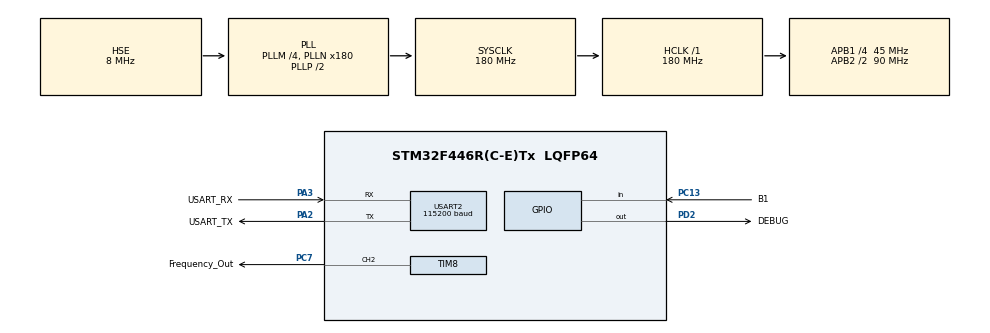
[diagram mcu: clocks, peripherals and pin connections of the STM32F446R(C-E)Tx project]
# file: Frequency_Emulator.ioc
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Mcu.Family=STM32F4
Mcu.Name=STM32F446R(C-E)Tx
Mcu.Package=LQFP64
NVIC.PriorityGroup=NVIC_PRIORITYGROUP_4
NVIC.TIM8_UP_TIM13_IRQn=true\:1\:0\:true\:false\:true\:true\:true\:true
NVIC.USART2_IRQn=true\:5\:0\:true\:false\:true\:true\:true\:true
PA13.GPIO_Label=TMS
PA13.Mode=Serial_Wire
PA13.Signal=SYS_JTMS-SWDIO
PA14.GPIO_Label=TCK
PA14.Mode=Serial_Wire
PA14.Signal=SYS_JTCK-SWCLK
PA2.GPIO_Label=USART_TX
PA2.Mode=Asynchronous
PA2.Signal=USART2_TX
PA3.GPIO_Label=USART_RX
PA3.Mode=Asynchronous
PA3.Signal=USART2_RX
PC13.GPIO_Label=B1
PC13.GPIO_PuPd=GPIO_PULLUP
PC13.Signal=GPIO_Input
PC14-OSC32_IN.Mode=LSE-External-Oscillator
PC14-OSC32_IN.Signal=RCC_OSC32_IN
PC15-OSC32_OUT.Mode=LSE-External-Oscillator
PC15-OSC32_OUT.Signal=RCC_OSC32_OUT
PC7.GPIO_Label=Frequency_Out
PC7.Signal=S_TIM8_CH2
PD2.GPIO_Label=DEBUG
PD2.Signal=GPIO_Output
PH0-OSC_IN.Mode=HSE-External-Oscillator
PH0-OSC_IN.Signal=RCC_OSC_IN
PH1-OSC_OUT.Mode=HSE-External-Oscillator
PH1-OSC_OUT.Signal=RCC_OSC_OUT
ProjectManager.HeapSize=0x200
ProjectManager.StackSize=0x800
ProjectManager.TargetToolchain=EWARM V8.32
RCC.48MHZClocksFreq_Value=84000000
RCC.AHBFreq_Value=180000000
RCC.APB1CLKDivider=RCC_HCLK_DIV4
RCC.APB1Freq_Value=45000000
RCC.APB1TimFreq_Value=90000000
RCC.APB2CLKDivider=RCC_HCLK_DIV2
RCC.APB2Freq_Value=90000000
RCC.APB2TimFreq_Value=180000000
RCC.CortexFreq_Value=180000000
RCC.FLatency-AdvancedSettings=FLASH_LATENCY_5
RCC.HCLKFreq_Value=180000000
RCC.HSE_VALUE=8000000
RCC.HSI_VALUE=16000000
RCC.PLLI2SM=8
RCC.PLLI2SN=400
RCC.PLLI2SR=5
RCC.PLLM=4
RCC.PLLN=180
RCC.PLLSourceVirtual=RCC_PLLSOURCE_HSE
RCC.RCC_MCO1Source=RCC_MCO1SOURCE_PLLCLK
RCC.RCC_MCO2Source=RCC_MCO2SOURCE_PLLI2SCLK
RCC.RCC_MCODiv2=RCC_MCODIV_5
RCC.SYSCLKFreq_VALUE=180000000
RCC.SYSCLKSource=RCC_SYSCLKSOURCE_PLLCLK
RCC.USBFreq_Value=180000000
RCC.VCOOutputFreq_Value=360000000
SH.S_TIM8_CH2.0=TIM8_CH2,PWM Generation2 CH2
TIM12.AutoReloadPreload=TIM_AUTORELOAD_PRELOAD_ENABLE
TIM12.ClockDivision=TIM_CLOCKDIVISION_DIV1
TIM12.Period=65535
TIM12.Prescaler=89
TIM8.AutoReloadPreload=TIM_AUTORELOAD_PRELOAD_ENABLE
TIM8.AutomaticOutput=TIM_AUTOMATICOUTPUT_ENABLE
TIM8.Channel-PWM\ Generation2\ CH2=TIM_CHANNEL_2
TIM8.Period=49999
TIM8.Prescaler=29
TIM8.Pulse-PWM\ Generation2\ CH2=40
USART2.BaudRate=115200
USART2.VirtualMode=VM_ASYNC
VP_TIM12_VS_ClockSourceINT.Mode=Internal
VP_TIM8_VS_ClockSourceINT.Mode=Internal
board=NUCLEO-F446RE

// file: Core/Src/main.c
/* USER CODE BEGIN Header */
/**
  ******************************************************************************
  * @file           : main.c
  * @brief          : Main program body
  ******************************************************************************
  * @attention
  *
  * <h2><center>&copy; Copyright (c) 2021 STMicroelectronics.
  * All rights reserved.</center></h2>
  *
  * This software component is licensed by ST under Ultimate Liberty license
  * SLA0044, the "License"; You may not use this file except in compliance with
  * the License. You may obtain a copy of the License at:
  *                             www.st.com/SLA0044
  *
  ******************************************************************************
  */
#define __XDIC_MAIN_C__
#include <stdint.h>
/* USER CODE END Header */
#include "main.h"

/* USER CODE BEGIN PD */

#define PRINT_BUFF_SIZE     (400U)
#define RX_PACKET_SIZE      (64U)
#define RX_BUFF_SIZE        (32U)

#define ANSI_FONT_NONE      "\033[0m"
#define ANSI_FONT_RED       "\033[31m"
#define ANSI_FONT_GREEN     "\033[32m"
#define ANSI_FONT_YELLOW    "\033[33m"
#define ANSI_FONT_BLUE      "\033[34m"
#define ANSI_FONT_MAGENTA   "\033[35m"

#define TIM8_BASE_FREQ      (180000000U) /* 180MHz */
#define TIM8_PRESCALE       (29U)
#define TIM8_FREQ           (TIM8_BASE_FREQ / (TIM8_PRESCALE + 1U)) /* 6MHz */
#define TIM8_PERIOD         (49999U)

typedef void (*func_t)(void);

typedef struct tag_KEY_INFO
{
    uint32_t now_state;
    uint32_t prev_state;
    uint8_t press_cnt;
    uint8_t odd_even;
    func_t function[2];
} key_info_t;
/* USER CODE END PD */

/* USER CODE BEGIN PV */

static key_info_t gt_key_info = {
    .now_state = 1,
    .prev_state = 1,
    .press_cnt = 0,
    .odd_even = 0,
    .function = { NULL, NULL },
};

typedef struct
{
    uint16_t length;
    char buffer[RX_PACKET_SIZE];
} rx_packet_t;

typedef struct
{
    uint16_t RxInCnt;
    uint16_t RxOutCnt;
    rx_packet_t Rxbuff[RX_BUFF_SIZE];
} RX_UART_t;

static uint8_t gn_key_task_tick;
static RX_UART_t gt_rx_uart;
static LOG_LV_T gt_log_lv = LOG_INFO;

/*
static void key_func_1(void)
{
}

static void key_func_2(void)
{
}
*/

static void btn_process(void)
{
    if (gn_key_task_tick == 0)
    {
        gt_key_info.now_state = LL_GPIO_IsInputPinSet(B1_GPIO_Port, B1_Pin);
        if (gt_key_info.now_state != gt_key_info.prev_state)
        {
            if (gt_key_info.now_state == 0)
            {
            }
            else
            {
                // Button Released
                if (gt_key_info.press_cnt >= 30)
                {
                    if (gt_key_info.function[gt_key_info.odd_even] != NULL)
                    {
                        gt_key_info.function[gt_key_info.odd_even]();
                    }
                    gt_key_info.odd_even ^= 1;
                }
                gt_key_info.press_cnt = 0;
            }
            gt_key_info.prev_state = gt_key_info.now_state;
        }
        else
        {
            if (gt_key_info.now_state == 0)
            {
                // Button Pressed
                ++gt_key_info.press_cnt;
            }
            else
            {
                // nothing
            }
        }
        gn_key_task_tick = 10; //10ms
    }
}

static void freq_start(void)
{
    uint16_t default_freq = 5000; //5kHz
    LL_TIM_SetCounter(TIM8, 0U);
    LL_TIM_SetAutoReload(TIM8, TIM8_FREQ / default_freq - 1U);
    LL_TIM_CC_EnableChannel(TIM8, LL_TIM_CHANNEL_CH2);
    LL_TIM_EnableCounter(TIM8);
}

static void freq_stop(void)
{
    LL_TIM_DisableCounter(TIM8);
    LL_TIM_SetCounter(TIM8, 0U);
}

static void freq_change(uint16_t in_freq)
{
    uint16_t arr = (TIM8_FREQ / in_freq - 1U);
    LL_TIM_SetAutoReload(TIM8, arr);
}
/* USER CODE END PV */

void SystemClock_Config(void);
static void MX_GPIO_Init(void);
static void MX_USART2_UART_Init(void);
static void MX_TIM12_Init(void);
static void MX_TIM8_Init(void);
/* USER CODE BEGIN PFP */
static void TaskDebugUart(void);
/* USER CODE END PFP */

/* USER CODE BEGIN 0 */
void sys_tick_handler(void)
{
}

void print(LOG_LV_T log_lv, const char *fmt, ...)
{
    if (log_lv >= gt_log_lv)
    {
        int len = 0;
        char msg_buffer[PRINT_BUFF_SIZE] = {0, };
        char color_buffer[PRINT_BUFF_SIZE] = {0, };

        va_list ap;
        va_start(ap, fmt);
        vsnprintf(msg_buffer, PRINT_BUFF_SIZE - 1, fmt, ap);
        va_end(ap);

        // 컬러 적용
        if (log_lv > LOG_INFO)
        {
            snprintf(color_buffer, (PRINT_BUFF_SIZE - 1), "%s%s%s", ANSI_FONT_RED, msg_buffer, ANSI_FONT_NONE);
            len = strlen(color_buffer);
        }
        else
        {
            len = strlen(msg_buffer);
            memcpy(color_buffer, msg_buffer, len + 1);
        }

        for (uint16_t i = 0 ; i < len ; ++i)
        {
            while (RESET == LL_USART_IsActiveFlag_TXE(USART2));
            LL_USART_TransmitData8(USART2, (uint8_t)color_buffer[i]);
        }
    }
}

static void comm_print_help(void)
{
    print(LOG_INFO, "\n\r------------------ Command Help -----------------------------");

    print(LOG_INFO, "\n\r  help / ?\t\t : Show command help");

    print(LOG_INFO, "\n\r  log_lv [d]\t\t : Set log level (0 ~ LOG_MAX-1)");
    print(LOG_INFO, "\n\r  reset\t\t\t : Reset MCU");

    print(LOG_INFO, "\n\r--------------------------------------------------------------\n\r");
}

static void comm_init(void)
{
    print(LOG_INFO, "\n\r--------------------------------------");
    print(LOG_INFO, "\n\r    [GT Frequency Emulator]");
    print(LOG_INFO, "\n\r--------------------------------------");
    print(LOG_INFO, "\n\r - Author: xxx@glbltech.com");
    print(LOG_INFO, "\n\r - Build : %s", __DATE__);
    print(LOG_INFO, "\n\r--------------------------------------\r\n");
}
/* USER CODE END 0 */

int main(void)
{

  /* MCU Configuration--------------------------------------------------------*/

  /* Reset of all peripherals, Initializes the Flash interface and the Systick. */
  HAL_Init();

  /* Configure the system clock */
  SystemClock_Config();

  /* Initialize all configured peripherals */
  MX_GPIO_Init();
  MX_USART2_UART_Init();
  MX_TIM12_Init();
  MX_TIM8_Init();
  /* USER CODE BEGIN 2 */

    comm_init();

  /* USER CODE END 2 */

  /* Infinite loop */
  while (1)
  {

    /* USER CODE BEGIN 3 */
    TaskDebugUart();
    btn_process();
  }
  /* USER CODE END 3 */
}

void SystemClock_Config(void)
{
  RCC_OscInitTypeDef RCC_OscInitStruct = {0};
  RCC_ClkInitTypeDef RCC_ClkInitStruct = {0};

  /** Configure the main internal regulator output voltage
  */
  __HAL_RCC_PWR_CLK_ENABLE();
  __HAL_PWR_VOLTAGESCALING_CONFIG(PWR_REGULATOR_VOLTAGE_SCALE1);

  /** Initializes the RCC Oscillators according to the specified parameters
  * in the RCC_OscInitTypeDef structure.
  */
  RCC_OscInitStruct.OscillatorType = RCC_OSCILLATORTYPE_HSE;
  RCC_OscInitStruct.HSEState = RCC_HSE_ON;
  RCC_OscInitStruct.PLL.PLLState = RCC_PLL_ON;
  RCC_OscInitStruct.PLL.PLLSource = RCC_PLLSOURCE_HSE;
  RCC_OscInitStruct.PLL.PLLM = 4;
  RCC_OscInitStruct.PLL.PLLN = 180;
  RCC_OscInitStruct.PLL.PLLP = RCC_PLLP_DIV2;
  RCC_OscInitStruct.PLL.PLLQ = 2;
  RCC_OscInitStruct.PLL.PLLR = 2;
  if (HAL_RCC_OscConfig(&RCC_OscInitStruct) != HAL_OK)
  {
    Error_Handler();
  }

  /** Activate the Over-Drive mode
  */
  if (HAL_PWREx_EnableOverDrive() != HAL_OK)
  {
    Error_Handler();
  }

  /** Initializes the CPU, AHB and APB buses clocks
  */
  RCC_ClkInitStruct.ClockType = RCC_CLOCKTYPE_HCLK|RCC_CLOCKTYPE_SYSCLK
                              |RCC_CLOCKTYPE_PCLK1|RCC_CLOCKTYPE_PCLK2;
  RCC_ClkInitStruct.SYSCLKSource = RCC_SYSCLKSOURCE_PLLCLK;
  RCC_ClkInitStruct.AHBCLKDivider = RCC_SYSCLK_DIV1;
  RCC_ClkInitStruct.APB1CLKDivider = RCC_HCLK_DIV4;
  RCC_ClkInitStruct.APB2CLKDivider = RCC_HCLK_DIV2;

  if (HAL_RCC_ClockConfig(&RCC_ClkInitStruct, FLASH_LATENCY_5) != HAL_OK)
  {
    Error_Handler();
  }
}

static void MX_TIM8_Init(void)
{

  LL_TIM_InitTypeDef TIM_InitStruct = {0};
  LL_TIM_OC_InitTypeDef TIM_OC_InitStruct = {0};
  LL_TIM_BDTR_InitTypeDef TIM_BDTRInitStruct = {0};

  LL_GPIO_InitTypeDef GPIO_InitStruct = {0};

  /* Peripheral clock enable */
  LL_APB2_GRP1_EnableClock(LL_APB2_GRP1_PERIPH_TIM8);

  /* TIM8 interrupt Init */
  NVIC_SetPriority(TIM8_UP_TIM13_IRQn, NVIC_EncodePriority(NVIC_GetPriorityGrouping(),1, 0));
  NVIC_EnableIRQ(TIM8_UP_TIM13_IRQn);

  TIM_InitStruct.Prescaler = 29;
  TIM_InitStruct.CounterMode = LL_TIM_COUNTERMODE_UP;
  TIM_InitStruct.Autoreload = 49999;
  TIM_InitStruct.ClockDivision = LL_TIM_CLOCKDIVISION_DIV1;
  TIM_InitStruct.RepetitionCounter = 0;
  LL_TIM_Init(TIM8, &TIM_InitStruct);
  LL_TIM_EnableARRPreload(TIM8);
  LL_TIM_SetClockSource(TIM8, LL_TIM_CLOCKSOURCE_INTERNAL);
  LL_TIM_OC_EnablePreload(TIM8, LL_TIM_CHANNEL_CH2);
  TIM_OC_InitStruct.OCMode = LL_TIM_OCMODE_PWM1;
  TIM_OC_InitStruct.OCState = LL_TIM_OCSTATE_DISABLE;
  TIM_OC_InitStruct.OCNState = LL_TIM_OCSTATE_DISABLE;
  TIM_OC_InitStruct.CompareValue = 40;
  TIM_OC_InitStruct.OCPolarity = LL_TIM_OCPOLARITY_HIGH;
  TIM_OC_InitStruct.OCNPolarity = LL_TIM_OCPOLARITY_HIGH;
  TIM_OC_InitStruct.OCIdleState = LL_TIM_OCIDLESTATE_LOW;
  TIM_OC_InitStruct.OCNIdleState = LL_TIM_OCIDLESTATE_LOW;
  LL_TIM_OC_Init(TIM8, LL_TIM_CHANNEL_CH2, &TIM_OC_InitStruct);
  LL_TIM_OC_DisableFast(TIM8, LL_TIM_CHANNEL_CH2);
  LL_TIM_SetTriggerOutput(TIM8, LL_TIM_TRGO_RESET);
  LL_TIM_DisableMasterSlaveMode(TIM8);
  TIM_BDTRInitStruct.OSSRState = LL_TIM_OSSR_DISABLE;
  TIM_BDTRInitStruct.OSSIState = LL_TIM_OSSI_DISABLE;
  TIM_BDTRInitStruct.LockLevel = LL_TIM_LOCKLEVEL_OFF;
  TIM_BDTRInitStruct.DeadTime = 0;
  TIM_BDTRInitStruct.BreakState = LL_TIM_BREAK_DISABLE;
  TIM_BDTRInitStruct.BreakPolarity = LL_TIM_BREAK_POLARITY_HIGH;
  TIM_BDTRInitStruct.AutomaticOutput = LL_TIM_AUTOMATICOUTPUT_ENABLE;
  LL_TIM_BDTR_Init(TIM8, &TIM_BDTRInitStruct);
  LL_AHB1_GRP1_EnableClock(LL_AHB1_GRP1_PERIPH_GPIOC);
  /**TIM8 GPIO Configuration
  PC7   ------> TIM8_CH2
  */
  GPIO_InitStruct.Pin = Frequency_Out_Pin;
  GPIO_InitStruct.Mode = LL_GPIO_MODE_ALTERNATE;
  GPIO_InitStruct.Speed = LL_GPIO_SPEED_FREQ_LOW;
  GPIO_InitStruct.OutputType = LL_GPIO_OUTPUT_PUSHPULL;
  GPIO_InitStruct.Pull = LL_GPIO_PULL_NO;
  GPIO_InitStruct.Alternate = LL_GPIO_AF_3;
  LL_GPIO_Init(Frequency_Out_GPIO_Port, &GPIO_InitStruct);

}

static void MX_TIM12_Init(void)
{

  LL_TIM_InitTypeDef TIM_InitStruct = {0};

  /* Peripheral clock enable */
  LL_APB1_GRP1_EnableClock(LL_APB1_GRP1_PERIPH_TIM12);

  TIM_InitStruct.Prescaler = 89;
  TIM_InitStruct.CounterMode = LL_TIM_COUNTERMODE_UP;
  TIM_InitStruct.Autoreload = 65535;
  TIM_InitStruct.ClockDivision = LL_TIM_CLOCKDIVISION_DIV1;
  LL_TIM_Init(TIM12, &TIM_InitStruct);
  LL_TIM_EnableARRPreload(TIM12);
  LL_TIM_SetClockSource(TIM12, LL_TIM_CLOCKSOURCE_INTERNAL);
  /* USER CODE BEGIN TIM12_Init 2 */
    LL_TIM_SetCounter(TIM12, 0);
    LL_TIM_EnableCounter(TIM12);
  /* USER CODE END TIM12_Init 2 */

}

static void MX_USART2_UART_Init(void)
{

  LL_USART_InitTypeDef USART_InitStruct = {0};

  LL_GPIO_InitTypeDef GPIO_InitStruct = {0};

  /* Peripheral clock enable */
  LL_APB1_GRP1_EnableClock(LL_APB1_GRP1_PERIPH_USART2);

  LL_AHB1_GRP1_EnableClock(LL_AHB1_GRP1_PERIPH_GPIOA);
  /**USART2 GPIO Configuration
  PA2   ------> USART2_TX
  PA3   ------> USART2_RX
  */
  GPIO_InitStruct.Pin = USART_TX_Pin|USART_RX_Pin;
  GPIO_InitStruct.Mode = LL_GPIO_MODE_ALTERNATE;
  GPIO_InitStruct.Speed = LL_GPIO_SPEED_FREQ_VERY_HIGH;
  GPIO_InitStruct.OutputType = LL_GPIO_OUTPUT_PUSHPULL;
  GPIO_InitStruct.Pull = LL_GPIO_PULL_NO;
  GPIO_InitStruct.Alternate = LL_GPIO_AF_7;
  LL_GPIO_Init(GPIOA, &GPIO_InitStruct);

  /* USART2 interrupt Init */
  NVIC_SetPriority(USART2_IRQn, NVIC_EncodePriority(NVIC_GetPriorityGrouping(),5, 0));
  NVIC_EnableIRQ(USART2_IRQn);

  USART_InitStruct.BaudRate = 115200;
  USART_InitStruct.DataWidth = LL_USART_DATAWIDTH_8B;
  USART_InitStruct.StopBits = LL_USART_STOPBITS_1;
  USART_InitStruct.Parity = LL_USART_PARITY_NONE;
  USART_InitStruct.TransferDirection = LL_USART_DIRECTION_TX_RX;
  USART_InitStruct.HardwareFlowControl = LL_USART_HWCONTROL_NONE;
  USART_InitStruct.OverSampling = LL_USART_OVERSAMPLING_16;
  LL_USART_Init(USART2, &USART_InitStruct);
  LL_USART_ConfigAsyncMode(USART2);
  LL_USART_Enable(USART2);
  /* USER CODE BEGIN USART2_Init 2 */

    /* USART RX */
    LL_USART_EnableIT_RXNE(USART2);
    LL_USART_EnableIT_ERROR(USART2);

  /* USER CODE END USART2_Init 2 */

}

static void MX_GPIO_Init(void)
{
  LL_GPIO_InitTypeDef GPIO_InitStruct = {0};

  /* GPIO Ports Clock Enable */
  LL_AHB1_GRP1_EnableClock(LL_AHB1_GRP1_PERIPH_GPIOC);
  LL_AHB1_GRP1_EnableClock(LL_AHB1_GRP1_PERIPH_GPIOH);
  LL_AHB1_GRP1_EnableClock(LL_AHB1_GRP1_PERIPH_GPIOA);
  LL_AHB1_GRP1_EnableClock(LL_AHB1_GRP1_PERIPH_GPIOB);
  LL_AHB1_GRP1_EnableClock(LL_AHB1_GRP1_PERIPH_GPIOD);

  /**/
  LL_GPIO_ResetOutputPin(DEBUG_GPIO_Port, DEBUG_Pin);

  /**/
  GPIO_InitStruct.Pin = B1_Pin;
  GPIO_InitStruct.Mode = LL_GPIO_MODE_INPUT;
  GPIO_InitStruct.Pull = LL_GPIO_PULL_UP;
  LL_GPIO_Init(B1_GPIO_Port, &GPIO_InitStruct);

  /**/
  GPIO_InitStruct.Pin = LL_GPIO_PIN_0|LL_GPIO_PIN_1|LL_GPIO_PIN_2|LL_GPIO_PIN_3
                          |LL_GPIO_PIN_4|LL_GPIO_PIN_5|LL_GPIO_PIN_6|LL_GPIO_PIN_8
                          |LL_GPIO_PIN_9|LL_GPIO_PIN_10|LL_GPIO_PIN_11|LL_GPIO_PIN_12;
  GPIO_InitStruct.Mode = LL_GPIO_MODE_ANALOG;
  GPIO_InitStruct.Pull = LL_GPIO_PULL_NO;
  LL_GPIO_Init(GPIOC, &GPIO_InitStruct);

  /**/
  GPIO_InitStruct.Pin = LL_GPIO_PIN_0|LL_GPIO_PIN_1|LL_GPIO_PIN_4|LL_GPIO_PIN_5
                          |LL_GPIO_PIN_6|LL_GPIO_PIN_7|LL_GPIO_PIN_8|LL_GPIO_PIN_9
                          |LL_GPIO_PIN_10|LL_GPIO_PIN_11|LL_GPIO_PIN_12|LL_GPIO_PIN_15;
  GPIO_InitStruct.Mode = LL_GPIO_MODE_ANALOG;
  GPIO_InitStruct.Pull = LL_GPIO_PULL_NO;
  LL_GPIO_Init(GPIOA, &GPIO_InitStruct);

  /**/
  GPIO_InitStruct.Pin = LL_GPIO_PIN_0|LL_GPIO_PIN_1|LL_GPIO_PIN_2|LL_GPIO_PIN_10
                          |LL_GPIO_PIN_12|LL_GPIO_PIN_13|LL_GPIO_PIN_14|LL_GPIO_PIN_15
                          |LL_GPIO_PIN_3|LL_GPIO_PIN_4|LL_GPIO_PIN_5|LL_GPIO_PIN_6
                          |LL_GPIO_PIN_7|LL_GPIO_PIN_8|LL_GPIO_PIN_9;
  GPIO_InitStruct.Mode = LL_GPIO_MODE_ANALOG;
  GPIO_InitStruct.Pull = LL_GPIO_PULL_NO;
  LL_GPIO_Init(GPIOB, &GPIO_InitStruct);

  /**/
  GPIO_InitStruct.Pin = DEBUG_Pin;
  GPIO_InitStruct.Mode = LL_GPIO_MODE_OUTPUT;
  GPIO_InitStruct.Speed = LL_GPIO_SPEED_FREQ_LOW;
  GPIO_InitStruct.OutputType = LL_GPIO_OUTPUT_PUSHPULL;
  GPIO_InitStruct.Pull = LL_GPIO_PULL_NO;
  LL_GPIO_Init(DEBUG_GPIO_Port, &GPIO_InitStruct);

}

/* USER CODE BEGIN 4 */

static uint8_t comm_get_rx_packet(rx_packet_t** pData)
{
    uint8_t ret = 0;

    if (gt_rx_uart.RxInCnt != gt_rx_uart.RxOutCnt)
    {
        *pData = gt_rx_uart.Rxbuff + gt_rx_uart.RxOutCnt;

        ++gt_rx_uart.RxOutCnt;
        gt_rx_uart.RxOutCnt &= (uint16_t)(RX_BUFF_SIZE -1);

        ret = 1;
    }

    return ret;
}

static void TaskDebugUart(void)
{
    rx_packet_t* p_data = NULL;

    if (comm_get_rx_packet(&p_data))
    {
        char str_in[RX_PACKET_SIZE + 1] = {0, };
        uint32_t u32_recv_param[6] = {0, };
        double lf_recv_param[6] = {0, };

        memcpy(str_in, p_data->buffer, p_data->length);
        p_data->length = 0;

        if (Command_is_("help") || Command_is_("?"))
        {
            comm_print_help();
        }
/* ----------------- command list - jig ----------------- */
        else if (Command_is_("freq_start"))
        {
            print(LOG_INFO, "\r\n Frequency Start Generation!!");
            freq_start();
        }
        else if (Command_is_("freq_stop"))
        {
            print(LOG_INFO, "\r\n Frequency Stop Generation!!");
            freq_stop();
        }
        else if (Command_Param_is_("freq", "%d", &u32_recv_param[0]))
        {
            DEBUG_HI();
            freq_change(u32_recv_param[0]);
            DEBUG_LO();
            print(LOG_INFO, "\r\n freq to [%d Hz]\r\n", u32_recv_param[0]);
        }
        else if (Command_Param_is_("log_lv", "%d", &u32_recv_param[0]))
        {
            if (u32_recv_param[0] < LOG_MAX)
            {
                print(LOG_INFO, "\r\n log_level - [%u]\r\n", u32_recv_param[0]);
                gt_log_lv = (LOG_LV_T)u32_recv_param[0];
            }
            else
            {
                print(LOG_ERROR, "\r\n Out of log_lv [%u] [0 - %u]\r\n", u32_recv_param[0], LOG_MAX - 1);
            }
        }
        else if (Command_is_("reset"))
        {
            print(LOG_INFO, "\r\n system reset \r\n");
            NVIC_SystemReset();
        }
        else
        {
            print(LOG_INFO, "\r\n What?\n\r");
        }
    }
}

__STATIC_INLINE void UART_PutChar(uint8_t data)
{
    /* Echo received character on TX */
    if ((data == '\n') || (data == '\r'))
    {
        LL_USART_TransmitData8(USART2, '\r');
        LL_USART_TransmitData8(USART2, '\n');
    }
    else
    {
        LL_USART_TransmitData8(USART2, data);
    }

    /* Loop until the end of transmission */
    while (RESET == LL_USART_IsActiveFlag_TXE(USART2));
}

void comm_rx_handler(uint8_t rx)
{
    UART_PutChar(rx);

    if ((rx == '\n') || (rx == '\r'))
    {
        if (gt_rx_uart.Rxbuff[gt_rx_uart.RxInCnt].length < (RX_PACKET_SIZE - 1))
        {
            gt_rx_uart.Rxbuff[gt_rx_uart.RxInCnt].buffer[gt_rx_uart.Rxbuff[gt_rx_uart.RxInCnt].length] = 0;
        }
        else
        {
            gt_rx_uart.Rxbuff[gt_rx_uart.RxInCnt].buffer[(RX_PACKET_SIZE - 1)] = 0;
        }

        ++gt_rx_uart.RxInCnt;
        gt_rx_uart.RxInCnt &= (uint16_t)(RX_BUFF_SIZE - 1);
    }
    else if (rx == UART_BACKSPACE)
    {
        if (gt_rx_uart.Rxbuff[gt_rx_uart.RxInCnt].length)
        {
            UART_PutChar(' ');
            UART_PutChar(UART_BACKSPACE);
            --gt_rx_uart.Rxbuff[gt_rx_uart.RxInCnt].length;
        }
    }
    else
    {
        if (gt_rx_uart.Rxbuff[gt_rx_uart.RxInCnt].length < (RX_PACKET_SIZE - 1))
        {
            gt_rx_uart.Rxbuff[gt_rx_uart.RxInCnt].buffer[gt_rx_uart.Rxbuff[gt_rx_uart.RxInCnt].length] = rx;
            ++gt_rx_uart.Rxbuff[gt_rx_uart.RxInCnt].length;

            if (gt_rx_uart.Rxbuff[gt_rx_uart.RxInCnt].buffer[0] == 0x1B)
            {
                if (gt_rx_uart.Rxbuff[gt_rx_uart.RxInCnt].buffer[1] == 0x5B)
                {
                    if (gt_rx_uart.Rxbuff[gt_rx_uart.RxInCnt].buffer[2] == 0x41)
                    {
                        print(LOG_INFO, "\r\n\r\n");
                        /* copy */
                        for (uint8_t i = 0 ; i < 64 ; ++i)
                        {
                            if (gt_rx_uart.RxInCnt)
                            {
                                if (gt_rx_uart.Rxbuff[gt_rx_uart.RxInCnt-1].buffer[i])
                                {
                                    gt_rx_uart.Rxbuff[gt_rx_uart.RxInCnt].buffer[i] = gt_rx_uart.Rxbuff[gt_rx_uart.RxInCnt-1].buffer[i];
                                    print(LOG_INFO, "%c", gt_rx_uart.Rxbuff[gt_rx_uart.RxInCnt].buffer[i]);
                                }
                                else
                                {
                                    gt_rx_uart.Rxbuff[gt_rx_uart.RxInCnt].length = i;
                                    break;
                                }
                            }
                            else
                            {
                                if (gt_rx_uart.Rxbuff[RX_BUFF_SIZE-1].buffer[i])
                                {
                                    gt_rx_uart.Rxbuff[gt_rx_uart.RxInCnt].buffer[i] = gt_rx_uart.Rxbuff[RX_BUFF_SIZE-1].buffer[i];
                                    print(LOG_INFO, "%c", gt_rx_uart.Rxbuff[gt_rx_uart.RxInCnt].buffer[i]);
                                }
                                else
                                {
                                    gt_rx_uart.Rxbuff[gt_rx_uart.RxInCnt].length = i;
                                    break;
                                }
                            }
                        }
                    }
                }
            }
        }
        else
        {
            //print(LOG_ERROR, "buffer limit...\r\n");
        }
    }
}
/* USER CODE END 4 */

void Error_Handler(void)
{
  __disable_irq();
  while (1)
  {
  }
}
